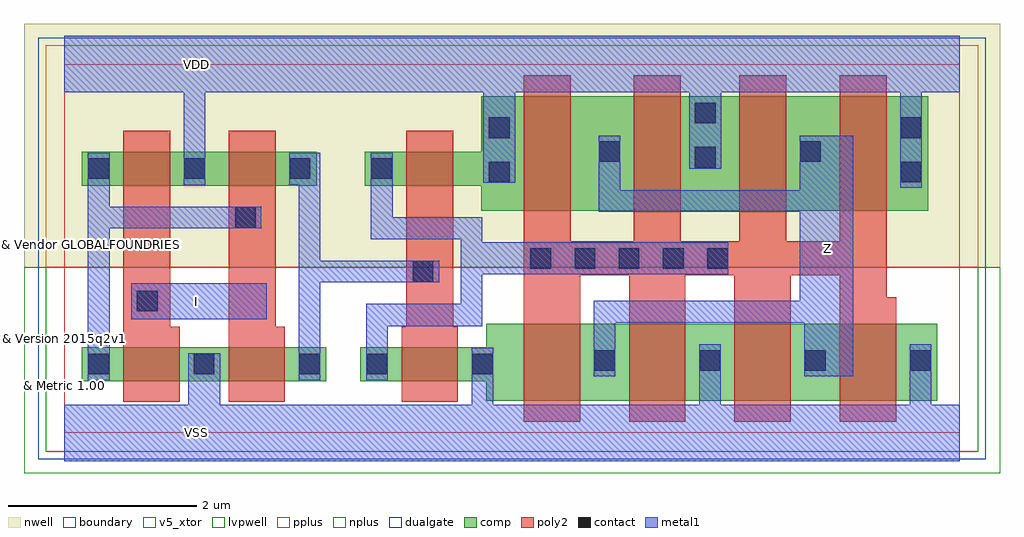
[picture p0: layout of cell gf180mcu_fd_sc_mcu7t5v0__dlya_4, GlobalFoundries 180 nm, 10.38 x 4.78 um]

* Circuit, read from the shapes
.subckt gf180mcu_fd_sc_mcu7t5v0__dlya_4 I VDD VSS Z
XM1 VSS I n1 VSUBS nfet_05v0 w=0.36u l=0.6u
XM2 n2 n1 VSS VSUBS nfet_05v0 w=0.36u l=0.6u
XM3 VSS n2 n3 VSUBS nfet_05v0 w=0.36u l=0.6u
XM4 Z n3 VSS VSUBS nfet_05v0 w=0.82u l=0.6u m=4
XM5 VDD I n1 n4 pfet_05v0 w=0.36u l=0.5u
XM6 n2 n1 VDD n4 pfet_05v0 w=0.36u l=0.5u
XM7 VDD n2 n3 n4 pfet_05v0 w=0.36u l=0.5u
XM8 Z n3 VDD n4 pfet_05v0 w=1.22u l=0.5u m=4
.ends

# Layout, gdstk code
import gdstk
lib = gdstk.Library(unit=1e-6, precision=1e-09)
def R(c, l, rs):  # rectangles x0, y0, x1, y1
    for r in rs: c.add(gdstk.rectangle(r[:2], r[2:], *l))
def A(c, l, x, y, w, h, nx, ny, dx, dy):  # array of equal rectangles
    R(c, l, [(x+i*dx, y+j*dy, x+i*dx+w, y+j*dy+h) for i in range(nx) for j in range(ny)])
def P(c, l, *ps):  # polygons
    for p in ps: c.add(gdstk.Polygon(p, *l))
boundary = (0, 0)
nwell = (21, 0)
comp = (22, 0)
poly2 = (30, 0)
pplus = (31, 0)
nplus = (32, 0)
contact = (33, 0)
metal1 = (34, 0)
dualgate = (55, 0)
v5_xtor = (112, 1)
lvpwell = (204, 0)

gf180mcu_fd_sc_mcu7t5v0_ = lib.new_cell('gf180mcu_fd_sc_mcu7t5v0__dlya_4')
R(gf180mcu_fd_sc_mcu7t5v0_, boundary, [(0,0,9.52,3.92)])
R(gf180mcu_fd_sc_mcu7t5v0_, nwell, [(-0.43,1.76,9.95,4.35)])
R(gf180mcu_fd_sc_mcu7t5v0_, comp, [(0.185,0.55,2.785,0.91), (0.185,2.63,2.685,2.99)])
P(gf180mcu_fd_sc_mcu7t5v0_, comp, [(4.435,2.36),(4.435,2.63),(3.195,2.63),(3.195,2.99),(4.435,2.99),(4.435,3.58),(9.185,3.58),(9.185,2.36)],
  [(4.485,0.34),(4.485,0.55),(3.145,0.55),(3.145,0.91),(4.485,0.91),(4.485,1.16),(9.285,1.16),(9.285,0.34)])
P(gf180mcu_fd_sc_mcu7t5v0_, poly2, [(0.625,0.33),(0.625,3.21),(1.125,3.21),(1.125,1.13),(1.225,1.13),(1.225,0.33)],
  [(1.745,0.33),(1.745,3.21),(2.245,3.21),(2.245,1.13),(2.345,1.13),(2.345,0.33)],
  [(3.585,0.33),(3.585,1.13),(3.635,1.13),(3.635,3.21),(4.135,3.21),(4.135,1.13),(4.185,1.13),(4.185,0.33)],
  [(4.885,0.12),(4.885,3.8),(5.385,3.8),(5.385,2.035),(6.055,2.035),(6.055,3.8),(6.555,3.8),(6.555,2.035),(7.175,2.035),(7.175,3.8),(7.675,3.8),(7.675,2.035),(8.245,2.035),(8.245,3.8),(8.745,3.8),(8.745,1.44),(8.845,1.44),(8.845,0.12),(8.245,0.12),(8.245,1.675),(7.725,1.675),(7.725,0.12),(7.125,0.12),(7.125,1.675),(6.605,1.675),(6.605,0.12),(6.005,0.12),(6.005,1.675),(5.485,1.675),(5.485,0.12)])
R(gf180mcu_fd_sc_mcu7t5v0_, pplus, [(-0.2,1.76,9.72,4.12)])
R(gf180mcu_fd_sc_mcu7t5v0_, nplus, [(-0.2,-0.2,9.72,1.76)])
A(gf180mcu_fd_sc_mcu7t5v0_, contact, 0.255, 0.62, 0.22, 0.22, 3, 1, 1.12, 0)
A(gf180mcu_fd_sc_mcu7t5v0_, contact, 5.635, 0.66, 0.22, 0.22, 4, 1, 1.12, 0)
A(gf180mcu_fd_sc_mcu7t5v0_, contact, 4.955, 1.745, 0.22, 0.22, 5, 1, 0.47, 0)
R(gf180mcu_fd_sc_mcu7t5v0_, contact, [(3.215,0.62,3.435,0.84), (4.335,0.62,4.555,0.84), (0.77,1.29,0.99,1.51), (3.705,1.605,3.925,1.825), (1.815,2.18,2.035,2.4), (4.515,2.665,4.735,2.885), (8.895,2.665,9.115,2.885), (0.255,2.7,0.475,2.92), (1.275,2.7,1.495,2.92), (2.395,2.7,2.615,2.92), (3.265,2.7,3.485,2.92), (6.705,2.82,6.925,3.04), (5.685,2.88,5.905,3.1), (7.825,2.88,8.045,3.1), (4.515,3.135,4.735,3.355), (8.895,3.135,9.115,3.355), (6.705,3.29,6.925,3.51)])
R(gf180mcu_fd_sc_mcu7t5v0_, metal1, [(0.71,1.21,2.15,1.59)])
P(gf180mcu_fd_sc_mcu7t5v0_, metal1, [(0.25,0.56),(0.25,2.98),(0.48,2.98),(0.48,2.405),(2.095,2.405),(2.095,2.175),(0.48,2.175),(0.48,0.56)],
  [(2.49,0.56),(2.49,2.64),(2.39,2.64),(2.39,2.98),(2.72,2.98),(2.72,1.83),(3.985,1.83),(3.985,1.6),(2.72,1.6),(2.72,0.56)],
  [(3.21,0.56),(3.21,1.37),(4.215,1.37),(4.215,2.06),(3.26,2.06),(3.26,2.98),(3.49,2.98),(3.49,2.295),(4.445,2.295),(4.445,2.025),(7.06,2.025),(7.06,1.685),(4.445,1.685),(4.445,1.135),(3.44,1.135),(3.44,0.56)],
  [(5.63,0.6),(5.63,1.405),(7.82,1.405),(7.82,2.35),(5.68,2.35),(5.68,3.16),(5.91,3.16),(5.91,2.58),(7.82,2.58),(7.82,3.16),(8.39,3.16),(8.39,0.6),(7.87,0.6),(7.87,1.17),(5.86,1.17),(5.86,0.6)],
  [(0,-0.3),(0,0.3),(1.315,0.3),(1.315,0.845),(1.655,0.845),(1.655,0.3),(4.33,0.3),(4.33,0.905),(4.56,0.905),(4.56,0.3),(6.75,0.3),(6.75,0.94),(6.98,0.94),(6.98,0.3),(8.99,0.3),(8.99,0.94),(9.22,0.94),(9.22,0.3),(9.52,0.3),(9.52,-0.3)],
  [(8.89,2.605),(8.89,3.62),(6.985,3.62),(6.985,2.81),(6.645,2.81),(6.645,3.62),(4.795,3.62),(4.795,2.66),(4.455,2.66),(4.455,3.62),(1.5,3.62),(1.5,2.635),(1.27,2.635),(1.27,3.62),(0,3.62),(0,4.22),(9.52,4.22),(9.52,3.62),(9.12,3.62),(9.12,2.605)])
R(gf180mcu_fd_sc_mcu7t5v0_, dualgate, [(-0.28,-0.28,9.8,4.2)])
R(gf180mcu_fd_sc_mcu7t5v0_, v5_xtor, [(0,0,9.52,3.92)])
R(gf180mcu_fd_sc_mcu7t5v0_, lvpwell, [(-0.43,-0.43,9.95,1.76)])
gf180mcu_fd_sc_mcu7t5v0_.add(gdstk.Label('VSS', (1.4,0), layer=34, texttype=10))
gf180mcu_fd_sc_mcu7t5v0_.add(gdstk.Label('Z', (8.12,1.96), layer=34, texttype=10))
gf180mcu_fd_sc_mcu7t5v0_.add(gdstk.Label('I', (1.4,1.4), layer=34, texttype=10))
gf180mcu_fd_sc_mcu7t5v0_.add(gdstk.Label('VDD', (1.4,3.92), layer=34, texttype=10))
gf180mcu_fd_sc_mcu7t5v0_.add(gdstk.Label('& Vendor GLOBALFOUNDRIES', (0,2), layer=63, texttype=63))
gf180mcu_fd_sc_mcu7t5v0_.add(gdstk.Label('& Product GF018hv5v_mcu_sc7', (0,1.5), layer=63, texttype=63))
gf180mcu_fd_sc_mcu7t5v0_.add(gdstk.Label('& Version 2015q2v1', (0,1), layer=63, texttype=63))
gf180mcu_fd_sc_mcu7t5v0_.add(gdstk.Label('& Metric 1.00', (0,0.5), layer=63, texttype=63))

lib.write_gds('gf180mcu_fd_sc_mcu7t5v0__dlya_4.gds')
